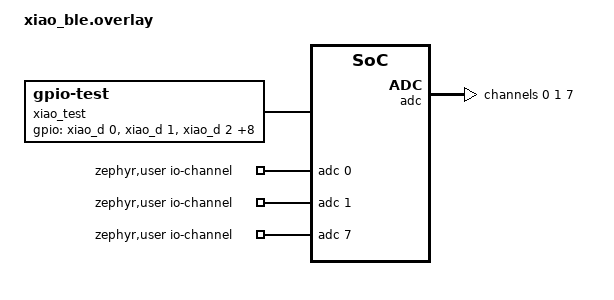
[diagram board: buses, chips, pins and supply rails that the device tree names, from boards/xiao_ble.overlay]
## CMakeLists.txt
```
# Copyright 2023 Girish Palya
# SPDX-License-Identifier: MIT

cmake_minimum_required(VERSION 3.20 FATAL_ERROR)

# sdk in .local/opt, which is automatically searched
# set(ZEPHYR_SDK_INSTALL_DIR
#     ${CMAKE_HOME_DIRECTORY}/../../local
#     CACHE PATH 'dir where zephyr sdk is installed'
# )

find_package(Zephyr REQUIRED HINTS ../zephyr)

project(
    app
    LANGUAGES C
    VERSION 1.0.0
)

configure_file(app_version.h.in ${CMAKE_BINARY_DIR}/app/include/app_version.h)
target_include_directories(app PRIVATE ${CMAKE_BINARY_DIR}/app/include src)

target_sources(app PRIVATE src/main.c)
```

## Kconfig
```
# Copyright 2023 Girish Palya
# SPDX-License-Identifier: MIT
#
# This file is the application Kconfig entry point. All application Kconfig
# options can be defined here or included via other application Kconfig files.
# You can browse these options using the west targets menuconfig (terminal) or
# guiconfig (GUI).

menu "Zephyr"
source "Kconfig.zephyr"
endmenu

module = APP
module-str = APP
source "subsys/logging/Kconfig.template.log_config"
```

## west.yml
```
# Copyright (c) 2023 Girish Palya
# SPDX-License-Identifier: MIT

manifest:
  self:
    west-commands: scripts/west-commands.yml

  remotes:
    - name: zephyrproject-rtos
      url-base: https://github.com/zephyrproject-rtos

  projects:
    - name: zephyr
      remote: zephyrproject-rtos
      revision: main
      import: true
```

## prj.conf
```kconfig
# Copyright 2023 Girish Palya
# SPDX-License-Identifier: MIT
#
# This file contains selected Kconfig options for the application.

# zephyr/boards/arm/xiao_ble/xiao_ble_defconfig already has enabled gpio
# CONFIG_GPIO=y

# Enable ADC
CONFIG_ADC=y
```

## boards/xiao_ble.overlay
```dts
/*
 * Copyright (c) 2023 Girish Palya
 *
 * SPDX-License-Identifier: MIT
 */

/*
 * Bindings in dts/bindings/gpio/seeed-xiao-header.yaml
 */

/ {
    xiao_test: xiao_test {
        compatible = "gpio-test";
        gpios
            = <&xiao_d 0 GPIO_ACTIVE_HIGH>
            , <&xiao_d 1 GPIO_ACTIVE_HIGH>
            , <&xiao_d 2 GPIO_ACTIVE_HIGH>
            , <&xiao_d 3 GPIO_ACTIVE_HIGH>
            , <&xiao_d 4 GPIO_ACTIVE_HIGH>
            , <&xiao_d 5 GPIO_ACTIVE_HIGH>
            , <&xiao_d 6 GPIO_ACTIVE_HIGH>
            , <&xiao_d 7 GPIO_ACTIVE_HIGH>
            , <&xiao_d 8 GPIO_ACTIVE_HIGH>
            , <&xiao_d 9 GPIO_ACTIVE_HIGH>
            , <&xiao_d 10 GPIO_ACTIVE_HIGH>
            ;
    };
    
};

/* ADC overlay
 * XIAO BLE has 6 analog pins (D0 to D5)
 * P0.02 -> AIN0 -> D0
 * P0.03 -> AIN1 -> D1
 * P0.28 -> AIN4 -> D2
 * P0.29 -> AIN5 -> D3
 * P0.04 -> AIN2 -> D4
 * P0.05 -> AIN3 -> D5
 * zephyr/samples/drivers/adc/boards/nrf52840dk_nrf52840.overlay
 * https://infocenter.nordicsemi.com/index.jsp?topic=%2Fps_nrf52840%2Fpin.html
 * https://infocenter.nordicsemi.com/index.jsp?topic=%2Fps_nrf52840%2Fsaadc.html&cp=4_0_0_5_22
 */


/ {
	zephyr,user {
		io-channels = <&adc 0>, <&adc 1>, <&adc 7>;
	};
};

&adc {
	#address-cells = <1>;
	#size-cells = <0>;

	channel@0 {
		reg = <0>;
		zephyr,gain = "ADC_GAIN_1_6";
		zephyr,reference = "ADC_REF_INTERNAL";
		zephyr,acquisition-time = <ADC_ACQ_TIME_DEFAULT>;
		zephyr,input-positive = <NRF_SAADC_AIN1>; /* P0.03 */
		zephyr,resolution = <12>;
	};

	channel@1 {
		reg = <1>;
		zephyr,gain = "ADC_GAIN_1_6";
		zephyr,reference = "ADC_REF_INTERNAL";
		zephyr,acquisition-time = <ADC_ACQ_TIME_DEFAULT>;
		zephyr,input-positive = <NRF_SAADC_VDD>;
		zephyr,resolution = <14>;
		zephyr,oversampling = <8>;
	};

	channel@7 {
		reg = <7>;
		zephyr,gain = "ADC_GAIN_1_5";
		zephyr,reference = "ADC_REF_VDD_1_4";
		zephyr,vref-mv = <750>;
		zephyr,acquisition-time = <ADC_ACQ_TIME_DEFAULT>;
		zephyr,input-positive = <NRF_SAADC_AIN2>; /* P0.04 */
		zephyr,input-negative = <NRF_SAADC_AIN3>; /* P0.05 */
		zephyr,resolution = <12>;
	};
};
```

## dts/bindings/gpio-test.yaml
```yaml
# Copyright 2023 Girish Palya
# SPDX-License-Identifier: MIT

description: GPIO pins for testing

compatible: "gpio-test"

properties:
  gpios:
    type: phandle-array
    required: true
```

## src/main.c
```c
/*
 * Copyright 2023 Girish Palya
 * SPDX-License-Identifier: MIT
 */

#include <zephyr/drivers/adc.h>
#include <zephyr/drivers/gpio.h>
#include <zephyr/kernel.h>
#include <zephyr/logging/log.h>
#include <zephyr/sys/printk.h>
#include <zephyr/sys/util.h>

#include "app_version.h"

LOG_MODULE_REGISTER(main, CONFIG_APP_LOG_LEVEL);

#define GPIO_NODE DT_NODELABEL(xiao_test)

#if !DT_NODE_EXISTS(GPIO_NODE)
#error "Overlay for gpio test is not defined."
#endif

#if !DT_NODE_EXISTS(DT_PATH(zephyr_user)) || !DT_NODE_HAS_PROP(DT_PATH(zephyr_user), io_channels)
#error "No suitable devicetree overlay specified"
#endif

#define DT_SPEC_AND_COMMA(node_id, prop, idx) \
    ADC_DT_SPEC_GET_BY_IDX(node_id, idx),

/* Data of ADC io-channels specified in devicetree. */
static const struct adc_dt_spec adc_channels[] = {
    DT_FOREACH_PROP_ELEM(DT_PATH(zephyr_user), io_channels,
        DT_SPEC_AND_COMMA)
};

#define XIAO_GPIO_PIN(i, _) \
    static const struct gpio_dt_spec D##i = GPIO_DT_SPEC_GET_BY_IDX(GPIO_NODE, gpios, i)
LISTIFY(11, XIAO_GPIO_PIN, (;));

#define IS_GPIO_READY(i, _) !gpio_is_ready_dt(&D##i)

/* ------------------------------------------------------------ */

void adc_read_channels(void)
{
    int16_t buf;
    int err;
    struct adc_sequence sequence = {
        .buffer = &buf,
        /* buffer size in bytes, not number of samples */
        .buffer_size = sizeof(buf),
    };

    printk("ADC reading:\n");
    for (size_t i = 0U; i < ARRAY_SIZE(adc_channels); i++) {
        int32_t val_mv;

        printk("- %s, channel %d: ",
            adc_channels[i].dev->name,
            adc_channels[i].channel_id);

        (void)adc_sequence_init_dt(&adc_channels[i], &sequence);

        err = adc_read(adc_channels[i].dev, &sequence);
        if (err < 0) {
            printk("Could not read (%d)\n", err);
            continue;
        } else {
            printk("%" PRId16, buf);
        }

        /* conversion to mV may not be supported, skip if not */
        val_mv = buf;
        err = adc_raw_to_millivolts_dt(&adc_channels[i],
            &val_mv);
        if (err < 0) {
            printk(" (value in mV not available)\n");
        } else {
            printk(" = %" PRId32 " mV\n", val_mv);
        }
    }
}

/* ------------------------------------------------------------ */

void adc_configure(void)
{
    int err;
    /* Configure channels individually prior to sampling. */
    for (size_t i = 0U; i < ARRAY_SIZE(adc_channels); i++) {
        if (!device_is_ready(adc_channels[i].dev)) {
            printk("ADC controller device not ready\n");
            return;
        }

        err = adc_channel_setup_dt(&adc_channels[i]);
        if (err < 0) {
            printk("Could not setup channel #%d (%d)\n", i, err);
            return;
        }
    }
}

/* ------------------------------------------------------------ */

void gpio_configure(void)
{

    if (LISTIFY(11, IS_GPIO_READY, (||))) {
        LOG_ERR("GPIOs not ready");
        return;
    }
    /* Configure pins. D0, D2 as output and D10 as input. */
    if ((gpio_pin_configure_dt(&D0, GPIO_OUTPUT_INACTIVE) < 0) || (gpio_pin_configure_dt(&D2, GPIO_OUTPUT_INACTIVE) < 0)) {
        LOG_ERR("GPIOs configuration failed");
        return;
    }
    if (gpio_pin_configure_dt(&D10, GPIO_INPUT) < 0) {
        LOG_ERR("GPIOs configuration failed");
        return;
    }
    /* Set D0 pin high */
    if (gpio_pin_set_dt(&D0, 1) < 0) {
        LOG_ERR("GPIO set high failed");
        return;
    }
}

/* ------------------------------------------------------------ */

int gpio_pulse(void)
{
    // uint32_t period_us = .1; // .1 gives 1us delay, 1us gives 2us delay, 3 us
    // gives 4us delay, implement your own
    static const int32_t period_us_a = .1;
    static const int32_t period_us_b = .1;
    // static const uint32_t period_ms = 2;
    static int pin_status = 0, new_status;
    static uint32_t counter = 0;

    /* Create square pulse on D2 */
    if (gpio_pin_set_dt(&D2, 1) < 0) {
        LOG_ERR("GPIO set high failed");
        return -1;
    }
    k_busy_wait(period_us_a);
    // k_sleep(K_MSEC(period_ms));

    new_status = gpio_pin_get_dt(&D10);
    if (new_status != pin_status) {
        printk("%d: pin level is %d\n", counter++, new_status);
        pin_status = new_status;
    }

    if (gpio_pin_set_dt(&D2, 0) < 0) {
        LOG_ERR("GPIO set low failed");
        return -1;
    }
    k_busy_wait(period_us_b);
    // k_sleep(K_MSEC(period_ms));
    return 0;
}

/* ------------------------------------------------------------ */

void main(void)
{
    printk("Xiao BLE Test Application %s\n", APP_VERSION_STR);
    adc_configure();
    gpio_configure();
    while (1) {
        // if (gpio_pulse() < 0) {
        //     return;
        // }
        adc_read_channels();
        k_sleep(K_MSEC(500));
    }
}
```
